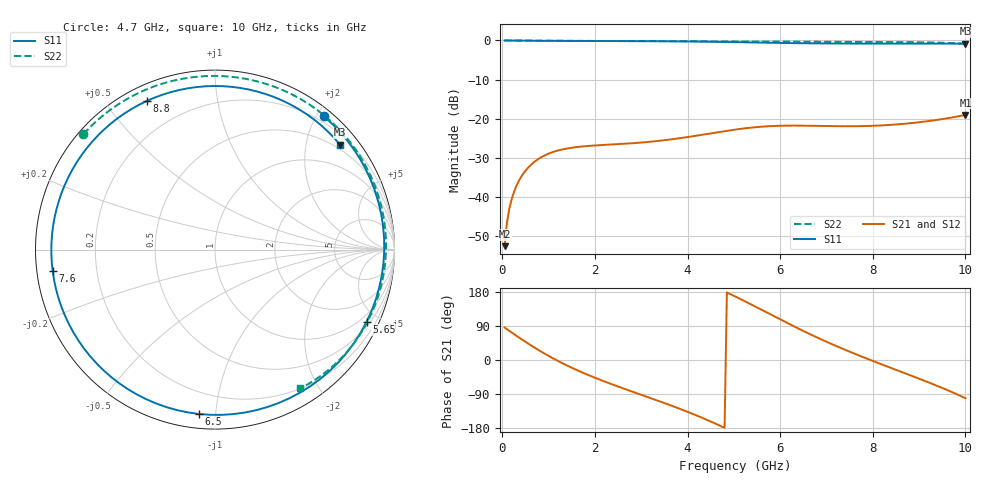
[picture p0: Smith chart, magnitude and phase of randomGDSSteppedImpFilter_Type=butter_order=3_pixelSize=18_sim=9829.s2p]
! freq	dB(S11)	phase(S11)	dB(S12)	phase(S12)
!  dB(S21)	phase(S21)	dB(S22)	phase(S22)
!S-par simulation data
#  GHz  S  DB  R 50
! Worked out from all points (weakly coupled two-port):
!   200 points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, 50 MHz to 10 GHz, reference 50 ohm
!   highest |S21| = -19.04 dB at 10 GHz (marker M1); lowest = -52.6 dB at 50 MHz (marker M2)
!   lowest |S11| = -0.8 dB at 10 GHz (marker M3), VSWR 21.09, Z = 20 + j135 ohm
!   |S11| at or under -10 dB: nowhere
!   |S22| runs from -0.8 to 0.0 dB; largest |S21 - S12| = 0
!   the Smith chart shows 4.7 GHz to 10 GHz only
!   S11 on the Smith chart (normalised r, x): 4.7 GHz: 0.12, +2.11; 5.65 GHz: 0.67, -4.33; 6.5 GHz: 0.08, -0.90; 7.6 GHz: 0.05, -0.07; 8.8 GHz: 0.07, +0.64; 10 GHz: 0.40, +2.70
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0.05  -0.00 -5.0  -52.64 85.7  -52.64 85.7  -0.00 -3.6
0.15  -0.02 -15.0  -43.16 77.0  -43.16 77.0  -0.01 -10.8
0.3  -0.04 -29.6  -37.33 64.2  -37.33 64.2  -0.03 -21.5
0.85  -0.09 -78.8  -29.82 21.4  -29.82 21.4  -0.08 -58.7
1.25  -0.12 -109.0  -28.02 -5.5  -28.02 -5.5  -0.10 -83.0
1.75  -0.13 -141.2  -27.10 -34.1  -27.10 -34.1  -0.12 -109.8
2.55  -0.15 175.2  -26.50 -72.2  -26.50 -72.2  -0.15 -145.7
3.4  -0.20 131.2  -25.67 -109.2  -25.67 -109.2  -0.17 -177.7
4.1  -0.27 91.0  -24.54 -141.6  -24.54 -141.6  -0.19 158.4
4.7  -0.37 50.7  -23.39 -173.2  -23.39 -173.2  -0.22 138.7
5.05  -0.44 24.1  -22.77 166.4  -22.77 166.4  -0.24 127.4
5.35  -0.51 -0.2  -22.33 148.1  -22.33 148.1  -0.25 117.7
5.65  -0.58 -25.5  -22.02 129.2  -22.02 129.2  -0.27 108.0
6.1  -0.67 -63.4  -21.80 100.9  -21.80 100.9  -0.28 93.2
6.5  -0.72 -95.6  -21.81 76.6  -21.81 76.6  -0.30 79.9
6.7  -0.74 -110.8  -21.84 64.9  -21.84 64.9  -0.30 73.1
7.15  -0.78 -143.0  -21.94 40.1  -21.94 40.1  -0.31 57.7
7.6  -0.80 -172.5  -21.95 17.0  -21.95 17.0  -0.33 42.0
8.35  -0.81 141.6  -21.63 -18.9  -21.63 -18.9  -0.38 14.7
8.8  -0.81 114.7  -21.19 -39.9  -21.19 -39.9  -0.43 -2.4
9.4  -0.80 78.2  -20.31 -68.7  -20.31 -68.7  -0.55 -27.5
10  -0.82 40.0  -19.04 -100.9  -19.04 -100.9  -0.84 -58.3
